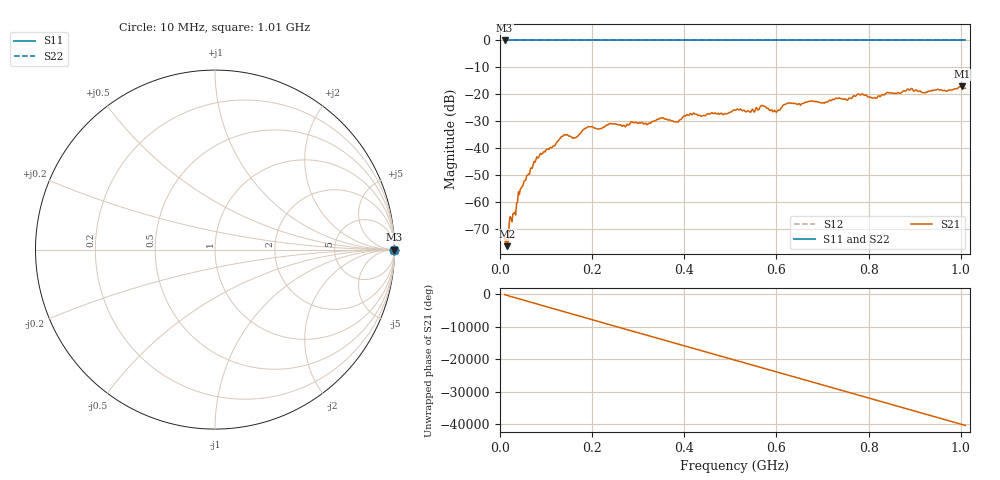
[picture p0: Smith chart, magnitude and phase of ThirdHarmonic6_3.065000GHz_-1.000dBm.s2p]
! 8/17/2025 8:56:39 AM
! C:\ANRITSUVNA\TEMP\TEMP.S2P
! CHANNEL.1
! TR.MEASUREMENT
! RAW.DATA
! RF.CORRECTION.OFF
! AVERAGING.OFF
! IF.BANDWIDTH: 5KHZ
! SWEEPTYPE:  FREQ.SWEEP(Linear)
! Reference Plane Port Info
! PORT:  PORT1  PORT2
! DISTANCE:  0  m  0  m
! TIME:  0  s  0  s
! PHASE.OFFSET:  0  deg.  0  deg.
! LOSS:  0  dB  0  dB
! REF.LOSS:  0  dB  0  dB
! REF.FREQ:  0  Hz  0  Hz
! Power Info
! POWER:  -20  dBm  -20  dBm
! EFF.POWER:  -20  dBm  -20  dBm
! SOURCE.ATTEN:  0  dB  0  dB
! TEST.ATTEN:  0  dB  0  dB
# GHZ S RI R 50.0
! FREQ.GHZ  S11RE  S11IM  S21RE  S21IM  S12RE  S12IM  S22RE  S22IM
!; PortSelection: Port_12
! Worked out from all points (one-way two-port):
!   501 points, 10 MHz to 1.01 GHz, reference 50 ohm
!   highest |S21| = -16.98 dB at 1.002 GHz (marker M1); lowest = -76.4 dB at 16 MHz (marker M2)
!   lowest |S11| = 0.0 dB at 10 MHz (marker M3)
!   |S11| at or under -10 dB: nowhere
!   |S22| runs from 0.0 to 0.0 dB; largest |S21 - S12| = 1.1
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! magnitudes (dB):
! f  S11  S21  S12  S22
! 10 MHz  0.0  -73.2  0.0  0.0
! 16 MHz  0.0  -76.4  0.0  0.0
! 24 MHz  0.0  -66.1  0.0  0.0
! 30 MHz  0.0  -64.3  0.0  0.0
! 44 MHz  0.0  -55.3  0.0  0.0
! 78 MHz  0.0  -44.3  0.0  0.0
! 136 MHz  0.0  -35.7  0.0  0.0
! 162 MHz  0.0  -36.1  0.0  0.0
! 178 MHz  0.0  -33.8  0.0  0.0
! 344 MHz  0.0  -29.3  0.0  0.0
! 382 MHz  0.0  -30.2  0.0  0.0
! 416 MHz  0.0  -27.6  0.0  0.0
! 510 MHz  0.0  -25.9  0.0  0.0
! 570 MHz  0.0  -24.2  0.0  0.0
! 596 MHz  0.0  -25.9  0.0  0.0
! 624 MHz  0.0  -23.3  0.0  0.0
! 678 MHz  0.0  -22.5  0.0  0.0
! 782 MHz  0.0  -20.3  0.0  0.0
! 814 MHz  0.0  -21.2  0.0  0.0
! 844 MHz  0.0  -19.4  0.0  0.0
! 1.002 GHz  0.0  -17.0  0.0  0.0
! 1.01 GHz  0.0  -17.8  0.0  0.0
